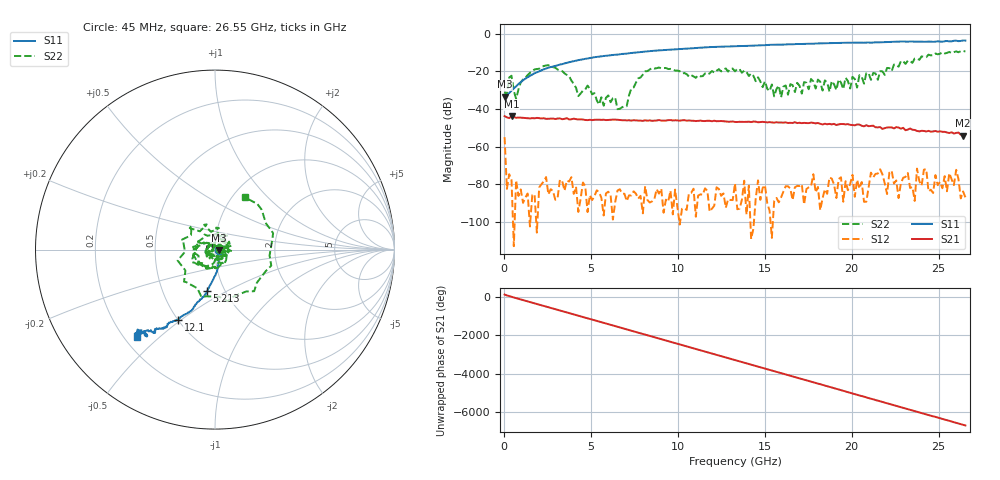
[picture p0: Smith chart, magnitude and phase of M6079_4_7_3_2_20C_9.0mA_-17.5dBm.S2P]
!  2-Port S-parameters saved by WinCal
! VAR MeasName=S-Parameters (CALIBRATED_DATA) read from VNA (C)
! VAR MeasDate=10/5/2015 5:02:24 PM
! VAR NAME=M6079_4_7_3_2_20C_9.0mA_-17.5dBm
! VAR FILENAME=M6079_4_7_3_2_20C_9.0mA_-17.5dBm.S2P
! VAR DATE=10/5/2015 5:02:24 PM
! VAR PHYS_PORTS=2,1
! VAR ObjTypeName=DATASET
! VAR IndexType=Frequency
# Hz S DB R 50
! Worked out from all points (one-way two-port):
!   201 points, 45 MHz to 26.55 GHz, reference 50 ohm
!   highest |S21| = -43.80 dB at 442.5 MHz (marker M1); lowest = -54.2 dB at 26.41 GHz (marker M2)
!   lowest |S11| = -33.4 dB at 45 MHz (marker M3), VSWR 1.04, Z = 52.2 - j0.171 ohm
!   |S11| at or under -10 dB: start of sweep to 7.646 GHz
!   |S22| runs from -40.1 to -9.2 dB; largest |S21 - S12| = 0.0076
!   S11 on the Smith chart (normalised r, x): 45 MHz: 1.04, -0.00; 5.213 GHz: 0.83, -0.41; 12.1 GHz: 0.50, -0.49; 26.55 GHz: 0.25, -0.42
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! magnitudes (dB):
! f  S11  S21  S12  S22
! 45 MHz  -33.4  -43.8  -54.9  -31.0
! 177.5 MHz  -32.5  -44.4  -82.4  -32.6
! 442.5 MHz  -30.3  -43.8  -77.7  -22.4
! 707.5 MHz  -28.0  -44.7  -77.8  -34.6
! 1.105 GHz  -24.8  -44.7  -89.8  -24.4
! 2.43 GHz  -18.6  -45.2  -76.1  -16.9
! 4.55 GHz  -13.7  -45.6  -79.0  -30.3
! 5.213 GHz  -12.5  -45.7  -86.2  -31.6
! 7.067 GHz  -10.6  -46.0  -88.8  -38.5
! 7.73 GHz  -9.9  -46.1  -87.5  -23.7
! 8.922 GHz  -8.9  -45.9  -84.9  -18.0
! 12.1 GHz  -7.1  -46.2  -91.3  -20.7
! 13.29 GHz  -6.7  -46.9  -79.5  -20.0
! 15.95 GHz  -5.8  -47.2  -86.9  -33.8
! 17.8 GHz  -5.4  -47.4  -74.6  -25.4
! 20.32 GHz  -4.9  -48.2  -77.6  -28.7
! 22.04 GHz  -4.5  -49.8  -85.1  -18.2
! 22.17 GHz  -4.5  -49.7  -73.8  -18.3
! 25.88 GHz  -3.8  -53.0  -80.4  -9.8
! 26.02 GHz  -3.8  -52.7  -72.3  -9.5
! 26.41 GHz  -3.7  -54.2  -83.7  -9.2
! 26.55 GHz  -3.7  -53.3  -86.9  -9.5
